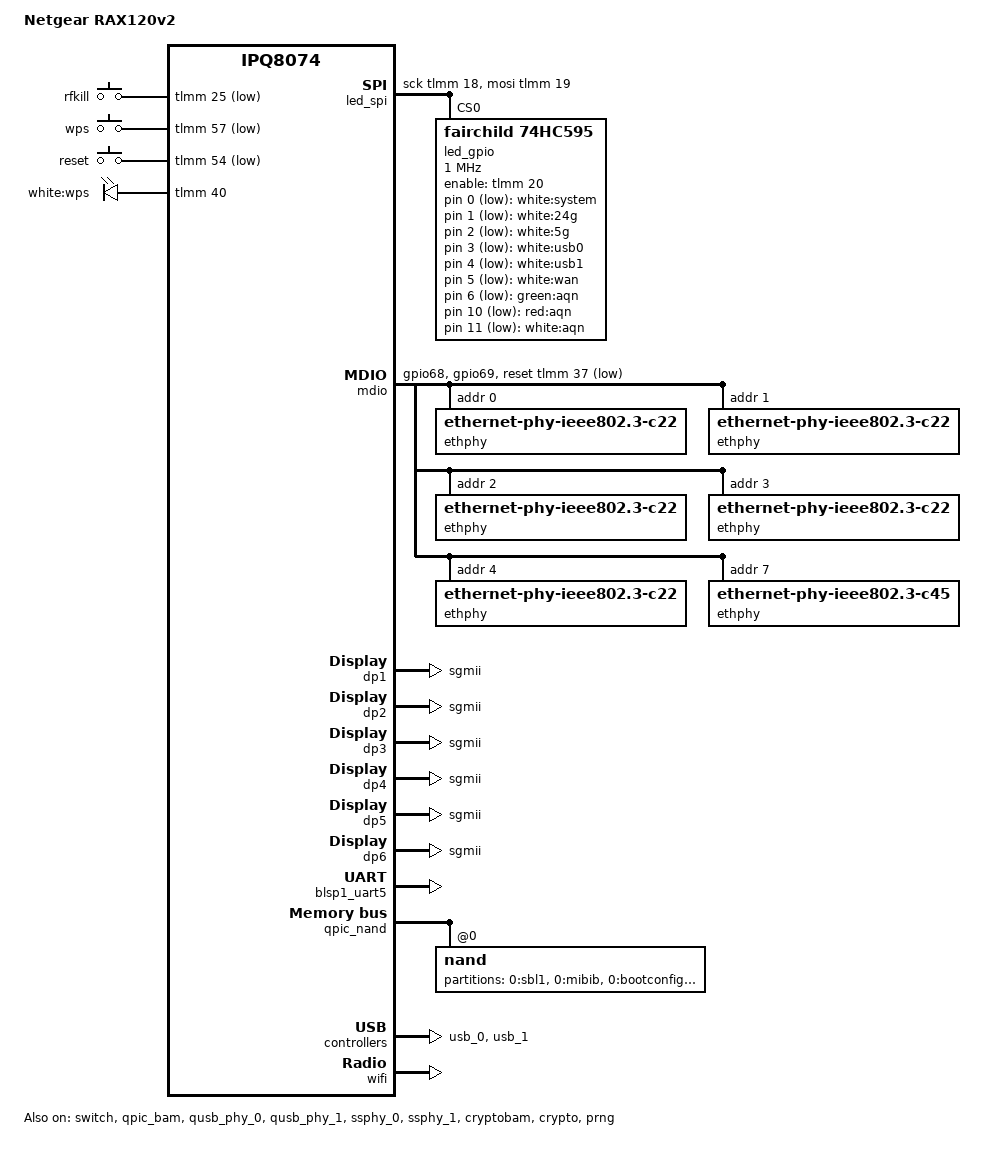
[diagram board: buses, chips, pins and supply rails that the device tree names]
// SPDX-License-Identifier: GPL-2.0-only

/dts-v1/;

#include "ipq8074.dtsi"
#include "ipq8074-ess.dtsi"
#include "ipq8074-hk-cpu.dtsi"
#include <dt-bindings/input/input.h>
#include <dt-bindings/gpio/gpio.h>
#include <dt-bindings/leds/common.h>

/ {
	#address-cells = <2>;
	#size-cells = <2>;
	model = "Netgear RAX120v2";
	compatible = "netgear,rax120v2", "qcom,ipq8074";
	interrupt-parent = <&intc>;

	aliases {
		serial0 = &blsp1_uart5;
		led-running = &led_system_white;
		led-upgrade = &led_aqn_red;
		led-internet = &led_wan_white;
		label-mac-device = &dp1;
		ethernet0 = &dp1;
		ethernet1 = &dp2;
		ethernet2 = &dp3;
		ethernet3 = &dp4;
		ethernet4 = &dp5;
		ethernet5 = &dp6;
	};

	chosen {
		stdout-path = "serial0";
	};

	keys {
		compatible = "gpio-keys";

		rfkill {
			label = "rfkill";
			gpios = <&tlmm 25 GPIO_ACTIVE_LOW>;
			linux,code = <KEY_RFKILL>;
		};

        wps {
			label = "wps";
			gpios = <&tlmm 57 GPIO_ACTIVE_LOW>;
			linux,code = <KEY_WPS_BUTTON>;
		};

        reset {
            label = "reset";
			gpios = <&tlmm 54 GPIO_ACTIVE_LOW>;
            linux,code = <KEY_RESTART>;
        };
	};

	led_spi {
		compatible = "spi-gpio";
		#address-cells = <1>;
		#size-cells = <0>;

		sck-gpios = <&tlmm 18 GPIO_ACTIVE_HIGH>;
		mosi-gpios = <&tlmm 19 GPIO_ACTIVE_HIGH>;

		led_gpio: led_gpio@0 {
			compatible = "fairchild,74hc595";
			reg = <0>;
			gpio-controller;
			#gpio-cells = <2>;
			registers-number = <2>;
			enable-gpios = <&tlmm 20 GPIO_ACTIVE_HIGH>;
			spi-max-frequency = <1000000>;
		};
	};

	leds {
		compatible = "gpio-leds";

		led_system_white: system-white {
			label = "white:system";
			gpios = <&led_gpio 0 GPIO_ACTIVE_LOW>;
		};

		led_24g_white {
			label = "white:24g";
			gpios = <&led_gpio 1 GPIO_ACTIVE_LOW>;
			linux,default-trigger = "phy1radio";
		};

		led_5g_white {
			label = "white:5g";
			gpios = <&led_gpio 2 GPIO_ACTIVE_LOW>;
			linux,default-trigger = "phy0radio";
		};

		led_usb0_white {
			label = "white:usb0";
			gpios = <&led_gpio 3 GPIO_ACTIVE_LOW>;
		};

		led_usb1_white {
			label = "white:usb1";
			gpios = <&led_gpio 4 GPIO_ACTIVE_LOW>;
		};

		led_wan_white: wan-white {
			label = "white:wan";
			gpios = <&led_gpio 5 GPIO_ACTIVE_LOW>;
		};

		led_aqn_green {
			label = "green:aqn";
			gpios = <&led_gpio 6 GPIO_ACTIVE_LOW>;
		};

		led_aqn_red: aqn-red {
			label = "red:aqn";
			gpios = <&led_gpio 10 GPIO_ACTIVE_LOW>;
		};

		led_aqn_white {
			label = "white:aqn";
			gpios = <&led_gpio 11 GPIO_ACTIVE_LOW>;
		};

		led_wps_white {
			label = "white:wps";
			gpios = <&tlmm 40 GPIO_ACTIVE_HIGH>;
		};
	};
};

&tlmm {

	mdio_pins: mdio-pins {
		mdc {
			pins = "gpio68";
			function = "mdc";
			drive-strength = <8>;
			bias-pull-up;
		};

		mdio {
			pins = "gpio69";
			function = "mdio";
			drive-strength = <8>;
			bias-pull-up;
		};
	};

	uniphy_pins: uniphy_pinmux {
		mux {
			pins = "gpio60";
			function = "rx2";
			bias-disable;
		};

		sfp_tx {
			pins = "gpio59";
			function = "gpio";
			drive-strength = <8>;
			bias-pull-down;
			output-low;
		};
	};
};

&edma {
	status = "okay";
};

&mdio {
	status = "okay";

	pinctrl-0 = <&mdio_pins>;
	pinctrl-names = "default";
	reset-gpios = <&tlmm 37 GPIO_ACTIVE_LOW>;

	ethphy@0 {
		compatible = "ethernet-phy-ieee802.3-c22";
		reg = <0>;
	};

	ethphy@1 {
		compatible = "ethernet-phy-ieee802.3-c22";
		reg = <1>;
	};

	ethphy@2 {
		compatible = "ethernet-phy-ieee802.3-c22";
		reg = <2>;
	};

	ethphy@3 {
		compatible = "ethernet-phy-ieee802.3-c22";
		reg = <3>;
	};

	ethphy@4 {
		compatible = "ethernet-phy-ieee802.3-c22";
		reg = <4>;
	};

	ethphy@7 {
		compatible ="ethernet-phy-ieee802.3-c45";
		reg = <7>;
	};
};

&switch {
	status = "okay";

	pinctrl-0 = <&uniphy_pins>;
	pinctrl-names = "default";
	switch_lan_bmp = <0x3e>; /* lan port bitmap */
	switch_wan_bmp = <0x40>; /* wan port bitmap */
	switch_mac_mode = <0x0>; /* mac mode for uniphy instance0*/
	switch_mac_mode1 = <0xff>; /* mac mode for uniphy instance1*/
	switch_mac_mode2 = <0xd>; /* mac mode for uniphy instance2*/
	bm_tick_mode = <0>; /* bm tick mode */
	tm_tick_mode = <0>; /* tm tick mode */	
	mdio-bus = <&mdio>;

	qcom,port_phyinfo {
		port@1 {
			port_id = <1>;
			phy_address = <0>;
		};
		port@2 {
			port_id = <2>;
			phy_address = <1>;
		};
		port@3 {
			port_id = <3>;
			phy_address = <2>;
		};
		port@4 {
			port_id = <4>;
			phy_address = <3>;
		};
		port@5 {
			port_id = <5>;
			phy_address = <4>;
		};
		port@6 {
			port_id = <6>;
			phy_address = <7>;
		};
	};

	port_scheduler_resource {
		port@0 {
			port_id = <0>;
			ucast_queue = <0 143>;
			mcast_queue = <256 271>;
			l0sp = <0 35>;
			l0cdrr = <0 47>;
			l0edrr = <0 47>;
			l1cdrr = <0 7>;
			l1edrr = <0 7>;
		};
		port@1 {
			port_id = <1>;
			ucast_queue = <144 159>;
			mcast_queue = <272 275>;
			l0sp = <36 39>;
			l0cdrr = <48 63>;
			l0edrr = <48 63>;
			l1cdrr = <8 11>;
			l1edrr = <8 11>;
		};
		port@2 {
			port_id = <2>;
			ucast_queue = <160 175>;
			mcast_queue = <276 279>;
			l0sp = <40 43>;
			l0cdrr = <64 79>;
			l0edrr = <64 79>;
			l1cdrr = <12 15>;
			l1edrr = <12 15>;
		};
		port@3 {
			port_id = <3>;
			ucast_queue = <176 191>;
			mcast_queue = <280 283>;
			l0sp = <44 47>;
			l0cdrr = <80 95>;
			l0edrr = <80 95>;
			l1cdrr = <16 19>;
			l1edrr = <16 19>;
		};
		port@4 {
			port_id = <4>;
			ucast_queue = <192 207>;
			mcast_queue = <284 287>;
			l0sp = <48 51>;
			l0cdrr = <96 111>;
			l0edrr = <96 111>;
			l1cdrr = <20 23>;
			l1edrr = <20 23>;
		};
		port@5 {
			port_id = <5>;
			ucast_queue = <208 223>;
			mcast_queue = <288 291>;
			l0sp = <52 55>;
			l0cdrr = <112 127>;
			l0edrr = <112 127>;
			l1cdrr = <24 27>;
			l1edrr = <24 27>;
		};
		port@6 {
			port_id = <6>;
			ucast_queue = <224 239>;
			mcast_queue = <292 295>;
			l0sp = <56 59>;
			l0cdrr = <128 143>;
			l0edrr = <128 143>;
			l1cdrr = <28 31>;
			l1edrr = <28 31>;
		};
		port@7 {
			port_id = <7>;
			ucast_queue = <240 255>;
			mcast_queue = <296 299>;
			l0sp = <60 63>;
			l0cdrr = <144 159>;
			l0edrr = <144 159>;
			l1cdrr = <32 35>;
			l1edrr = <32 35>;
		};
	};

	port_scheduler_config {
		port@0 {
			port_id = <0>;
			l1scheduler {
				group@0 {
					sp = <0 1>; /*L0 SPs*/
					/*cpri cdrr epri edrr*/
					cfg = <0 0 0 0>;
				};
			};
			l0scheduler {
				group@0 {
					/*unicast queues*/
					ucast_queue = <0 4 8>;
					/*multicast queues*/
					mcast_queue = <256 260>;
					/*sp cpri cdrr epri edrr*/
					cfg = <0 0 0 0 0>;
				};
				group@1 {
					ucast_queue = <1 5 9>;
					mcast_queue = <257 261>;
					cfg = <0 1 1 1 1>;
				};
				group@2 {
					ucast_queue = <2 6 10>;
					mcast_queue = <258 262>;
					cfg = <0 2 2 2 2>;
				};
				group@3 {
					ucast_queue = <3 7 11>;
					mcast_queue = <259 263>;
					cfg = <0 3 3 3 3>;
				};
			};
		};
		port@1 {
			port_id = <1>;
			l1scheduler {
				group@0 {
					sp = <36>;
					cfg = <0 8 0 8>;
				};
				group@1 {
					sp = <37>;
					cfg = <1 9 1 9>;
				};
			};
			l0scheduler {
				group@0 {
					ucast_queue = <144>;
					ucast_loop_pri = <16>;
					mcast_queue = <272>;
					mcast_loop_pri = <4>;
					cfg = <36 0 48 0 48>;
				};
			};
		};
		port@2 {
			port_id = <2>;
			l1scheduler {
				group@0 {
					sp = <40>;
					cfg = <0 12 0 12>;
				};
				group@1 {
					sp = <41>;
					cfg = <1 13 1 13>;
				};
			};
			l0scheduler {
				group@0 {
					ucast_queue = <160>;
					ucast_loop_pri = <16>;
					mcast_queue = <276>;
					mcast_loop_pri = <4>;
					cfg = <40 0 64 0 64>;
				};
			};
		};
		port@3 {
			port_id = <3>;
			l1scheduler {
				group@0 {
					sp = <44>;
					cfg = <0 16 0 16>;
				};
				group@1 {
					sp = <45>;
					cfg = <1 17 1 17>;
				};
			};
			l0scheduler {
				group@0 {
					ucast_queue = <176>;
					ucast_loop_pri = <16>;
					mcast_queue = <280>;
					mcast_loop_pri = <4>;
					cfg = <44 0 80 0 80>;
				};
			};
		};
		port@4 {
			port_id = <4>;
			l1scheduler {
				group@0 {
					sp = <48>;
					cfg = <0 20 0 20>;
				};
				group@1 {
					sp = <49>;
					cfg = <1 21 1 21>;
				};
			};
			l0scheduler {
				group@0 {
					ucast_queue = <192>;
					ucast_loop_pri = <16>;
					mcast_queue = <284>;
					mcast_loop_pri = <4>;
					cfg = <48 0 96 0 96>;
				};
			};
		};
		port@5 {
			port_id = <5>;
			l1scheduler {
				group@0 {
					sp = <52>;
					cfg = <0 24 0 24>;
				};
				group@1 {
					sp = <53>;
					cfg = <1 25 1 25>;
				};
			};
			l0scheduler {
				group@0 {
					ucast_queue = <208>;
					ucast_loop_pri = <16>;
					mcast_queue = <288>;
					mcast_loop_pri = <4>;
					cfg = <52 0 112 0 112>;
				};
			};
		};
		port@6 {
			port_id = <6>;
			l1scheduler {
				group@0 {
					sp = <56>;
					cfg = <0 28 0 28>;
				};
				group@1 {
					sp = <57>;
					cfg = <1 29 1 29>;
				};
			};
			l0scheduler {
				group@0 {
					ucast_queue = <224>;
					ucast_loop_pri = <16>;
					mcast_queue = <292>;
					mcast_loop_pri = <4>;
					cfg = <56 0 128 0 128>;
				};
			};
		};
		port@7 {
			port_id = <7>;
			l1scheduler {
				group@0 {
					sp = <60>;
					cfg = <0 32 0 32>;
				};
				group@1 {
					sp = <61>;
					cfg = <1 33 1 33>;
				};
			};
			l0scheduler {
				group@0 {
					ucast_queue = <240>;
					ucast_loop_pri = <16>;
					mcast_queue = <296>;
					cfg = <60 0 144 0 144>;
				};
			};
		};
	};
};

&soc {
	dp1: dp1 {
		device_type = "network";
		compatible = "qcom,nss-dp";
		qcom,id = <1>;
		reg = <0x3a001000 0x200>;
		qcom,mactype = <0>;
		local-mac-address = [000000000000];
		qcom,link-poll = <1>;
		qcom,phy-mdio-addr = <0>;
		phy-mode = "sgmii";
		mdio-bus = <&mdio>;
	};

	dp2: dp2 {
		device_type = "network";
		compatible = "qcom,nss-dp";
		qcom,id = <2>;
		reg = <0x3a001200 0x200>;
		qcom,mactype = <0>;
		local-mac-address = [000000000000];
		qcom,link-poll = <1>;
		qcom,phy-mdio-addr = <1>;
		phy-mode = "sgmii";
		mdio-bus = <&mdio>;
	};

	dp3: dp3 {
		device_type = "network";
		compatible = "qcom,nss-dp";
		qcom,id = <3>;
		reg = <0x3a001400 0x200>;
		qcom,mactype = <0>;
		local-mac-address = [000000000000];
		qcom,link-poll = <1>;
		qcom,phy-mdio-addr = <2>;
		phy-mode = "sgmii";
		mdio-bus = <&mdio>;
	};

	dp4: dp4 {
		device_type = "network";
		compatible = "qcom,nss-dp";
		qcom,id = <4>;
		reg = <0x3a001600 0x200>;
		qcom,mactype = <0>;
		local-mac-address = [000000000000];
		qcom,link-poll = <1>;
		qcom,phy-mdio-addr = <3>;
		phy-mode = "sgmii";
		mdio-bus = <&mdio>;
	};

	dp5: dp5 {
		device_type = "network";
		compatible = "qcom,nss-dp";
		qcom,id = <5>;
		reg = <0x3a001800 0x200>;
		qcom,mactype = <0>;
		local-mac-address = [000000000000];
		qcom,link-poll = <1>;
		qcom,phy-mdio-addr = <4>;
		phy-mode = "sgmii";
		mdio-bus = <&mdio>;
	};

	dp6: dp6 {
		device_type = "network";
		compatible = "qcom,nss-dp";
		qcom,id = <6>;
		reg = <0x3a007000 0x3fff>;
		qcom,mactype = <1>;
		local-mac-address = [000000000000];
		qcom,link-poll = <1>;
		qcom,phy-mdio-addr = <7>;
		phy-mode = "sgmii";
		mdio-bus = <&mdio>;
	};
};

&blsp1_uart5 {
	status = "okay";
};

&qpic_bam {
	status = "okay";
};

&qpic_nand {
	status = "okay";

	nand@0 {
		reg = <0>;
		#address-cells = <1>;
		#size-cells = <1>;
		nand-ecc-strength = <4>;
		nand-ecc-step-size = <512>;
		nand-bus-width = <8>;

		partition@0 {
			label = "0:sbl1";
			reg = <0x00 0x100000>;
		};

		partition@100000 {
			label = "0:mibib";
			reg = <0x100000 0x100000>;
		};

		partition@200000 {
			label = "0:bootconfig";
			reg = <0x200000 0x80000>;
		};

		partition@280000 {
			label = "0:bootconfig_1";
			reg = <0x280000 0x80000>;
		};

		partition@300000 {
			label = "0:qsee";
			reg = <0x300000 0x300000>;
		};

		partition@600000 {
			label = "0:qsee_1";
			reg = <0x600000 0x300000>;
		};

		partition@900000 {
			label = "0:devcfg";
			reg = <0x900000 0x80000>;
		};

		partition@980000 {
			label = "0:devcfg_1";
			reg = <0x980000 0x80000>;
		};

		partition@a00000 {
			label = "0:apdp";
			reg = <0xa00000 0x80000>;
		};

		partition@a80000 {
			label = "0:apdp_1";
			reg = <0xa80000 0x80000>;
		};

		partition@b00000 {
			label = "0:rpm";
			reg = <0xb00000 0x80000>;
		};

		partition@b80000 {
			label = "0:rpm_1";
			reg = <0xb80000 0x80000>;
		};

		partition@c00000 {
			label = "0:cdt";
			reg = <0xc00000 0x80000>;
		};

		partition@c80000 {
			label = "0:cdt_1";
			reg = <0xc80000 0x80000>;
		};

		partition@d00000 {
			label = "0:appsblenv";
			reg = <0xd00000 0x80000>;
		};

		partition@d80000 {
			label = "0:appsbl";
			reg = <0xd80000 0x100000>;
		};

		partition@e80000 {
			label = "0:appsbl_1";
			reg = <0xe80000 0x100000>;
		};

		partition@f80000 {
			label = "0:art";
			reg = <0xf80000 0x80000>;
		};

		partition@1000000 {
			label = "0:art.bak";
			reg = <0x1000000 0x0080000>;
		};

		partition@1080000 {
			label = "config";
			reg = <0x1080000 0x0100000>;
		};

		partition@1180000 {
			label = "boarddata1";
			reg = <0x1180000 0x0100000>;
		};

		partition@1280000 {
			label = "boarddata2";
			reg = <0x1280000 0x0100000>;
		};

		partition@1380000 {
			label = "pot";
			reg = <0x1380000 0x0100000>;
		};

		partition@1480000 {
			label = "dnidata";
			reg = <0x1480000 0x0500000>;
		};

		partition@1980000 {
			label = "firmware";
			reg = <0x1980000 0x6400000>;
		};

		kernel@1980000 {
			label = "kernel";
			reg = <0x1980000 0x01D00000>;
		};

		rootfs@3680000 {
			label = "rootfs";
			reg = <0x3680000 0x4700000>;
		};

		partition@7d80000 {
			label = "language";
			reg = <0x7d80000 0x0380000>;
		};

		partition@8100000 {
			label = "cert";
			reg = <0x8100000 0x0100000>;
		};

		partition@8200000 {
			label = "mtdoops";
			reg = <0x8200000 0x0080000>;
		};

		partition@8280000 {
			label = "router_analytics";
			reg = <0x8280000 0x0200000>;
		};

		partition@8480000 {
			label = "ntgrdata";
			reg = <0x8480000 0x6400000>;
		};

		partition@E880000 {
			label = "reserved";
			reg = <0xE880000 0x11780000>;
		};
	};
};

&qusb_phy_0 {
	status = "okay";

	#trigger-source-cells = <0>;
};

&qusb_phy_1 {
	status = "okay";
};

&ssphy_0 {
	status = "okay";

	#trigger-source-cells = <0>;
};

&ssphy_1 {
	status = "okay";
};

&usb_0 {
	status = "okay";
};

&usb_1 {
	status = "okay";
};

&wifi{
	status = "okay";

	qcom,ath11k-calibration-variant = "Netgear-RAX120v2";
};

&cryptobam {
	status = "okay";
};

&crypto {
	status = "okay";
};

&prng {
	status = "okay";
};
